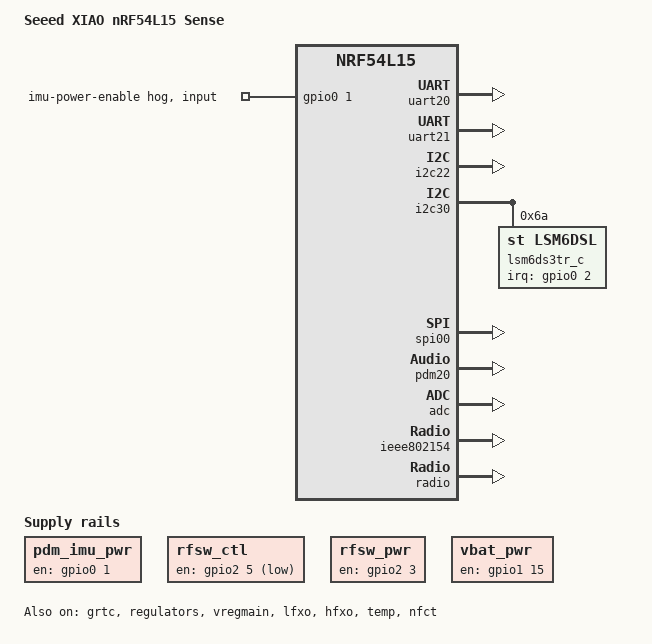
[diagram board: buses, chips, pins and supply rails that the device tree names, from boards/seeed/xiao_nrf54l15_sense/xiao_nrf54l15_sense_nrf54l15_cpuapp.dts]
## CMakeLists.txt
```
# SPDX-License-Identifier: Apache-2.0
#
# BLE Spectrum Monitor firmware
# Builds a Nordic UART Service peripheral that sweeps the 2.4 GHz band and
# streams per-channel RSSI as newline-delimited JSON.

cmake_minimum_required(VERSION 3.20.0)

find_package(Zephyr REQUIRED HINTS $ENV{ZEPHYR_BASE})
project(ble_spectrum_monitor)

target_sources(app PRIVATE
  src/main.c
  src/radio_sweep.c
)

target_include_directories(app PRIVATE src)
```

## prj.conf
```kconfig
# SPDX-License-Identifier: Apache-2.0
#
# Project configuration for the BLE Spectrum Monitor firmware.
# Derived from the nRF Connect SDK peripheral_uart sample.

# --- Bluetooth core ---
CONFIG_BT=y
CONFIG_BT_PERIPHERAL=y
CONFIG_BT_DEVICE_NAME="BLE-SpectrumMon"
CONFIG_BT_DEVICE_APPEARANCE=0

# Nordic UART Service (NUS)
CONFIG_BT_NUS=y

# Larger ATT MTU so a full sweep JSON fits in as few notifications as possible.
# Data length / PHY update help the larger MTU actually take effect.
CONFIG_BT_L2CAP_TX_MTU=247
CONFIG_BT_BUF_ACL_RX_SIZE=251
CONFIG_BT_BUF_ACL_TX_SIZE=251
CONFIG_BT_CTLR_DATA_LENGTH_MAX=251
CONFIG_BT_USER_DATA_LEN_UPDATE=y
CONFIG_BT_AUTO_PHY_UPDATE=y
CONFIG_BT_GATT_CLIENT=n

# Allow the application to drive the MTU exchange.
CONFIG_BT_GATT_DYNAMIC_DB=y

# --- MPSL (needed later for Option A timeslot scanning) ---
# Enabled now so the upgrade path does not require a config change.
CONFIG_MPSL=y

# --- System / threading ---
CONFIG_HEAP_MEM_POOL_SIZE=2048
CONFIG_MAIN_STACK_SIZE=2048
CONFIG_SYSTEM_WORKQUEUE_STACK_SIZE=2048

# --- Logging over the debug UART ---
CONFIG_LOG=y
CONFIG_SERIAL=y
CONFIG_CONSOLE=y
CONFIG_UART_CONSOLE=y
CONFIG_USE_SEGGER_RTT=n

# --- C library ---
# Use the SDK default (picolibc), which supports snprintf with %lld and strtol
# as used in main.c. Do not force minimal libc here.
```

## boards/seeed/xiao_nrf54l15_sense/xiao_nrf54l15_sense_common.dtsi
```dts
/*
 * SPDX-License-Identifier: Apache-2.0
 */

#include "xiao_nrf54l15_sense-pinctrl.dtsi"
#include <zephyr/dt-bindings/sensor/lsm6dso.h>

/ {
	leds {
		compatible = "gpio-leds";

		led0: led_0 {
			gpios = <&gpio2 0 GPIO_ACTIVE_LOW>;
			label = "LED 0";
		};
	};

	buttons: buttons {
		compatible = "gpio-keys";

		usr_btn: usr-btn {
			gpios = <&gpio0 0 (GPIO_PULL_UP | GPIO_ACTIVE_LOW)>;
			label = "USR";
			zephyr,code = <INPUT_KEY_ENTER>;
		};
	};

	aliases {
		led0 = &led0;
		buttons = &buttons;
		dmic20 = &pdm20;
		sw0 = &usr_btn;
		watchdog0 = &wdt31;
	};
};

&uart20 {
	current-speed = <115200>;
	pinctrl-0 = <&uart20_default>;
	pinctrl-1 = <&uart20_sleep>;
	pinctrl-names = "default", "sleep";
};

&uart21 {
	current-speed = <115200>;
	pinctrl-0 = <&uart21_default>;
	pinctrl-1 = <&uart21_sleep>;
	pinctrl-names = "default", "sleep";
};

&i2c22 {
	pinctrl-0 = <&i2c22_default>;
	pinctrl-1 = <&i2c22_sleep>;
	pinctrl-names = "default", "sleep";
	clock-frequency = <400000>;
};

&i2c30 {
	pinctrl-0 = <&i2c30_default>;
	pinctrl-1 = <&i2c30_sleep>;
	pinctrl-names = "default", "sleep";
	clock-frequency = <400000>;
};

&spi00 {
	pinctrl-0 = <&spi00_default>;
	pinctrl-1 = <&spi00_sleep>;
	pinctrl-names = "default", "sleep";
};

&spi22 {
	pinctrl-0 = <&spi22_default>;
	pinctrl-1 = <&spi22_sleep>;
	pinctrl-names = "default", "sleep";
};

&pdm20 {
	pinctrl-0 = <&pdm20_default>;
	pinctrl-names = "default";
	clock-source = "PCLK32M";
};

&adc {
	#address-cells = <1>;
	#size-cells = <0>;

	channel@0 {
		reg = <0>;
		zephyr,gain = "ADC_GAIN_1_4";
		zephyr,reference = "ADC_REF_INTERNAL";
		zephyr,acquisition-time = <ADC_ACQ_TIME_DEFAULT>;
		zephyr,input-positive = <NRF_SAADC_AIN0>;
		zephyr,resolution = <12>;
		zephyr,oversampling = <8>;
	};

	channel@1 {
		reg = <1>;
		zephyr,gain = "ADC_GAIN_1_4";
		zephyr,reference = "ADC_REF_INTERNAL";
		zephyr,acquisition-time = <ADC_ACQ_TIME_DEFAULT>;
		zephyr,input-positive = <NRF_SAADC_AIN1>;
		zephyr,resolution = <12>;
		zephyr,oversampling = <8>;
	};

	channel@2 {
		reg = <2>;
		zephyr,gain = "ADC_GAIN_1_4";
		zephyr,reference = "ADC_REF_INTERNAL";
		zephyr,acquisition-time = <ADC_ACQ_TIME_DEFAULT>;
		zephyr,input-positive = <NRF_SAADC_AIN2>;
		zephyr,resolution = <12>;
		zephyr,oversampling = <8>;
	};

	channel@3 {
		reg = <3>;
		zephyr,gain = "ADC_GAIN_1_4";
		zephyr,reference = "ADC_REF_INTERNAL";
		zephyr,acquisition-time = <ADC_ACQ_TIME_DEFAULT>;
		zephyr,input-positive = <NRF_SAADC_AIN3>;
		zephyr,resolution = <12>;
		zephyr,oversampling = <8>;
	};

	channel@4 {
		reg = <4>;
		zephyr,gain = "ADC_GAIN_1_4";
		zephyr,reference = "ADC_REF_INTERNAL";
		zephyr,acquisition-time = <ADC_ACQ_TIME_DEFAULT>;
		zephyr,input-positive = <NRF_SAADC_AIN4>;
		zephyr,resolution = <12>;
		zephyr,oversampling = <8>;
	};

	channel@5 {
		reg = <5>;
		zephyr,gain = "ADC_GAIN_1_4";
		zephyr,reference = "ADC_REF_INTERNAL";
		zephyr,acquisition-time = <ADC_ACQ_TIME_DEFAULT>;
		zephyr,input-positive = <NRF_SAADC_AIN5>;
		zephyr,resolution = <12>;
		zephyr,oversampling = <8>;
	};

	channel@6 {
		reg = <6>;
		zephyr,gain = "ADC_GAIN_1_4";
		zephyr,reference = "ADC_REF_INTERNAL";
		zephyr,acquisition-time = <ADC_ACQ_TIME_DEFAULT>;
		zephyr,input-positive = <NRF_SAADC_AIN6>;
		zephyr,resolution = <12>;
		zephyr,oversampling = <8>;
	};

	channel@7 {
		reg = <7>;
		zephyr,gain = "ADC_GAIN_1_4";
		zephyr,reference = "ADC_REF_INTERNAL";
		zephyr,acquisition-time = <ADC_ACQ_TIME_DEFAULT>;
		zephyr,input-positive = <NRF_SAADC_AIN7>;
		zephyr,resolution = <12>;
		zephyr,oversampling = <8>;
	};
};
```

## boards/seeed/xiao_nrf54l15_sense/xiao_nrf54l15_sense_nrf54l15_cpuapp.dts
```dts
/*
 * Copyright (c) 2025 Seeed Technology Co., Ltd.
 * SPDX-License-Identifier: Apache-2.0
 */

/dts-v1/;
#include <nordic/nrf54l15_cpuapp.dtsi>
#include "seeed_xiao_connector.dtsi"
#include "xiao_nrf54l15_sense_common.dtsi"

/ {
	model = "Seeed XIAO nRF54L15 Sense";
	compatible = "seeed,xiao-nrf54l15-sense-cpuapp";

	pdm_imu_pwr: pdm-imu-pwr {
		compatible = "regulator-fixed";
		regulator-name = "pdm-imu-pwr";
		enable-gpios = <&gpio0 1 GPIO_ACTIVE_HIGH>;
		regulator-boot-on;
		startup-delay-us = <5000>;
	};

	rfsw_ctl: rfsw-ctl {
		compatible = "regulator-fixed";
		regulator-name = "rfsw-ctl";
		enable-gpios = <&gpio2 5 GPIO_ACTIVE_LOW>;
		regulator-boot-on;
	};

	rfsw_pwr: rfsw-pwr {
		compatible = "regulator-fixed";
		regulator-name = "rfsw-pwr";
		enable-gpios = <&gpio2 3 GPIO_ACTIVE_HIGH>;
		regulator-boot-on;
	};

	vbat_pwr: vbat-pwr {
		compatible = "regulator-fixed";
		regulator-name = "vbat";
		enable-gpios = <&gpio1 15 GPIO_ACTIVE_HIGH>;
		regulator-boot-on;
	};

	chosen {
		zephyr,code-partition = &slot0_partition;
		zephyr,sram = &cpuapp_sram;
		zephyr,flash = &cpuapp_rram;
		zephyr,flash-controller = &rram_controller;
		zephyr,console = &uart20;
		zephyr,shell-uart = &uart20;
		nordic,rpc-uart = &uart20;
		zephyr,ieee802154 = &ieee802154;
	};

	aliases {
		imu0 = &lsm6ds3tr_c;
	};
};

&cpuapp_sram {
	status = "okay";
};

&grtc {
	owned-channels = <0 1 2 3 4 5 6 7 8 9 10 11>;
	/* Channels 7-11 reserved for Zero Latency IRQs, 3-4 for FLPR */
	child-owned-channels = <3 4 7 8 9 10 11>;
	status = "okay";
};

&clock {
	status = "okay";
};

&uart20 {
	status = "okay";
};

&uart21 {
	status = "okay";
};

&i2c22 {
	status = "okay";
};

&i2c30 {
	status = "okay";

	lsm6ds3tr_c: lsm6ds3tr-c@6a {
		compatible = "st,lsm6dsl";
		reg = <0x6a>;
		irq-gpios = <&gpio0 2 GPIO_ACTIVE_HIGH>;
		status = "okay";
	};
};

&spi00 {
	status = "okay";
};

dmic_dev: &pdm20 {
	status = "okay";
};

&adc {
	status = "okay";
};

&gpio0 {
	status = "okay";

	imu_power_default_on: imu_power_default_on {
		gpio-hog;
		gpios = <1 GPIO_ACTIVE_HIGH>;
		line-name = "imu-power-enable";
	};
};

&gpio1 {
	status = "okay";
};

&gpio2 {
	status = "okay";
};

&gpiote20 {
	status = "okay";
};

&gpiote30 {
	status = "okay";
};

&regulators {
	status = "okay";
};

&vregmain {
	status = "okay";
	regulator-initial-mode = <NRF5X_REG_MODE_DCDC>;
};

&lfxo {
	load-capacitors = "internal";
	load-capacitance-femtofarad = <16000>;
	status = "okay";
};

&hfxo {
	load-capacitors = "internal";
	load-capacitance-femtofarad = <16000>;
	status = "okay";
};

&ieee802154 {
	status = "okay";
};

&temp {
	status = "okay";
};

&radio {
	status = "okay";
};

&nfct {
	status = "okay";
};

/* Include default memory partition configuration file */
#include <vendor/nordic/nrf54l15_cpuapp_partition.dtsi>
```

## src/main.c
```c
/*
 * SPDX-License-Identifier: Apache-2.0
 *
 * BLE Spectrum Monitor — firmware entry point.
 *
 * Advertises as a Nordic UART Service (NUS) peripheral named
 * "BLE-SpectrumMon". While connected it runs a small state machine that sweeps
 * RSSI across all 40 BLE channels and streams the result as one newline-
 * delimited JSON object per sweep over NUS TX, fragmented to the current MTU.
 *
 * Command protocol (NUS RX, ASCII, newline-terminated, case-insensitive):
 *   START            begin continuous sweeps
 *   STOP             pause sweeps, stay connected
 *   INTERVAL <ms>    set delay between sweeps (default 1000, min 100)
 *   PING             reply with "PONG"
 *   <anything else>  reply with "ERR unknown"
 *
 * Structurally derived from the nRF Connect SDK peripheral_uart sample.
 */

#include <zephyr/kernel.h>
#include <zephyr/types.h>
#include <stddef.h>
#include <string.h>
#include <stdlib.h>
#include <stdio.h>
#include <ctype.h>

#include <zephyr/logging/log.h>
#include <zephyr/sys/atomic.h>

#include <zephyr/bluetooth/bluetooth.h>
#include <zephyr/bluetooth/conn.h>
#include <zephyr/bluetooth/uuid.h>
#include <zephyr/bluetooth/gatt.h>

#include <bluetooth/services/nus.h>

#include "radio_sweep.h"

LOG_MODULE_REGISTER(spectrum_mon, LOG_LEVEL_INF);

/* ------------------------------------------------------------------ config */

#define DEVICE_NAME      CONFIG_BT_DEVICE_NAME
#define DEVICE_NAME_LEN  (sizeof(DEVICE_NAME) - 1)

#define SWEEP_INTERVAL_DEFAULT_MS 1000
#define SWEEP_INTERVAL_MIN_MS     100

/* JSON for a 40-channel sweep is ~280-320 bytes; round up for safety. */
#define JSON_BUF_SIZE 384

/* ------------------------------------------------------------------ state */

static struct bt_conn *current_conn;

/* Negotiated ATT payload (MTU - 3). Updated on the MTU exchange callback. */
static atomic_t nus_mtu_payload = ATOMIC_INIT(20);

/* Sweep control, shared between the command handler and the sweep thread. */
static atomic_t sweeping = ATOMIC_INIT(0);
static atomic_t sweep_interval_ms = ATOMIC_INIT(SWEEP_INTERVAL_DEFAULT_MS);

/* Wakes the sweep thread when START / INTERVAL change the schedule. */
static K_SEM_DEFINE(sweep_kick, 0, 1);

/* ------------------------------------------------------------ advertising */

static const struct bt_data ad[] = {
	BT_DATA_BYTES(BT_DATA_FLAGS, (BT_LE_AD_GENERAL | BT_LE_AD_NO_BREDR)),
	BT_DATA(BT_DATA_NAME_COMPLETE, DEVICE_NAME, DEVICE_NAME_LEN),
};

static const struct bt_data sd[] = {
	BT_DATA_BYTES(BT_DATA_UUID128_ALL, BT_UUID_NUS_VAL),
};

/* --------------------------------------------------------------- TX helper */

/*
 * Send a buffer over NUS TX, fragmenting to the current MTU so payloads larger
 * than one notification (e.g. a full sweep JSON) are delivered in order. The
 * web app reassembles by buffering until it sees a '\n'.
 */
static int nus_send_fragmented(const uint8_t *data, uint16_t len)
{
	if (!current_conn) {
		return -ENOTCONN;
	}

	uint16_t chunk = (uint16_t)atomic_get(&nus_mtu_payload);
	if (chunk < 1) {
		chunk = 20;
	}

	uint16_t offset = 0;
	while (offset < len) {
		uint16_t this_len = MIN(chunk, (uint16_t)(len - offset));
		int err = bt_nus_send(current_conn, &data[offset], this_len);
		if (err) {
			LOG_WARN("bt_nus_send failed (err %d) at offset %u",
				 err, offset);
			return err;
		}
		offset += this_len;
	}
	return 0;
}

static void nus_send_line(const char *line)
{
	nus_send_fragmented((const uint8_t *)line, (uint16_t)strlen(line));
}

/* ------------------------------------------------------- command handling */

/* Compare an n-byte buffer to a literal, case-insensitively. */
static bool ci_equal(const uint8_t *buf, uint16_t len, const char *lit)
{
	size_t lit_len = strlen(lit);
	if (len != lit_len) {
		return false;
	}
	for (size_t i = 0; i < lit_len; i++) {
		if (tolower((int)buf[i]) != tolower((int)lit[i])) {
			return false;
		}
	}
	return true;
}

static void handle_command(const uint8_t *cmd, uint16_t len)
{
	/* Trim trailing CR/LF and surrounding whitespace. */
	while (len > 0 && (cmd[len - 1] == '\r' || cmd[len - 1] == '\n' ||
			   cmd[len - 1] == ' ' || cmd[len - 1] == '\t')) {
		len--;
	}
	while (len > 0 && (*cmd == ' ' || *cmd == '\t')) {
		cmd++;
		len--;
	}
	if (len == 0) {
		return;
	}

	if (ci_equal(cmd, len, "START")) {
		atomic_set(&sweeping, 1);
		k_sem_give(&sweep_kick);
		LOG_INF("START");
		return;
	}

	if (ci_equal(cmd, len, "STOP")) {
		atomic_set(&sweeping, 0);
		LOG_INF("STOP");
		return;
	}

	if (ci_equal(cmd, len, "PING")) {
		nus_send_line("PONG\n");
		return;
	}

	/* INTERVAL <ms> */
	if (len >= 8 &&
	    (tolower(cmd[0]) == 'i') && (tolower(cmd[1]) == 'n') &&
	    (tolower(cmd[2]) == 't') && (tolower(cmd[3]) == 'e') &&
	    (tolower(cmd[4]) == 'r') && (tolower(cmd[5]) == 'v') &&
	    (tolower(cmd[6]) == 'a') && (tolower(cmd[7]) == 'l')) {
		const uint8_t *p = cmd + 8;
		uint16_t rem = len - 8;
		while (rem > 0 && (*p == ' ' || *p == '\t')) {
			p++;
			rem--;
		}
		/* NUL-terminate into a small stack buffer for strtol. */
		char num[12] = {0};
		uint16_t n = MIN(rem, (uint16_t)(sizeof(num) - 1));
		memcpy(num, p, n);
		long ms = strtol(num, NULL, 10);
		if (ms < SWEEP_INTERVAL_MIN_MS) {
			ms = SWEEP_INTERVAL_MIN_MS;
		}
		atomic_set(&sweep_interval_ms, (atomic_val_t)ms);
		k_sem_give(&sweep_kick);
		LOG_INF("INTERVAL %ld", ms);
		return;
	}

	nus_send_line("ERR unknown\n");
}

/* NUS RX: data received from the central. */
static void nus_received_cb(struct bt_conn *conn, const uint8_t *const data,
			    uint16_t len)
{
	ARG_UNUSED(conn);
	handle_command(data, len);
}

static struct bt_nus_cb nus_cb = {
	.received = nus_received_cb,
};

/* ----------------------------------------------------- connection plumbing */

static void mtu_exchange_cb(struct bt_conn *conn, uint8_t err,
			    struct bt_gatt_exchange_params *params)
{
	ARG_UNUSED(params);
	if (err) {
		LOG_WARN("MTU exchange failed (err %u)", err);
		return;
	}
	uint16_t mtu = bt_gatt_get_mtu(conn);
	/* Usable notification payload is MTU minus the 3-byte ATT header. */
	uint16_t payload = (mtu > 3) ? (mtu - 3) : 20;
	atomic_set(&nus_mtu_payload, payload);
	LOG_INF("MTU exchanged: %u (payload %u)", mtu, payload);
}

static struct bt_gatt_exchange_params mtu_exchange_params = {
	.func = mtu_exchange_cb,
};

static void connected(struct bt_conn *conn, uint8_t err)
{
	char addr[BT_ADDR_LE_STR_LEN];

	if (err) {
		LOG_ERR("Connection failed (err %u)", err);
		return;
	}

	bt_addr_le_to_str(bt_conn_get_dst(conn), addr, sizeof(addr));
	LOG_INF("Connected: %s", addr);

	current_conn = bt_conn_ref(conn);
	atomic_set(&nus_mtu_payload, 20); /* until the exchange completes */

	/* Ask for a bigger MTU so sweep JSON needs fewer notifications. */
	int rc = bt_gatt_exchange_mtu(conn, &mtu_exchange_params);
	if (rc) {
		LOG_WARN("MTU exchange request failed (err %d)", rc);
	}
}

static void disconnected(struct bt_conn *conn, uint8_t reason)
{
	char addr[BT_ADDR_LE_STR_LEN];

	bt_addr_le_to_str(bt_conn_get_dst(conn), addr, sizeof(addr));
	LOG_INF("Disconnected: %s (reason %u)", addr, reason);

	/* Pause sweeping; keep the configured interval for the next session. */
	atomic_set(&sweeping, 0);

	if (current_conn) {
		bt_conn_unref(current_conn);
		current_conn = NULL;
	}
	atomic_set(&nus_mtu_payload, 20);
}

BT_CONN_CB_DEFINE(conn_callbacks) = {
	.connected = connected,
	.disconnected = disconnected,
};

/* ----------------------------------------------------------- sweep thread */

#define SWEEP_THREAD_STACK 2048
#define SWEEP_THREAD_PRIO  5

static K_THREAD_STACK_DEFINE(sweep_stack, SWEEP_THREAD_STACK);
static struct k_thread sweep_thread_data;

/* Build the sweep JSON line into @p out. Returns the string length. */
static int build_sweep_json(char *out, size_t out_size,
			    int64_t uptime, const int8_t *rssi)
{
	int n = snprintf(out, out_size, "{\"t\":%lld,\"rssi\":[",
			 (long long)uptime);
	if (n < 0 || (size_t)n >= out_size) {
		return -1;
	}

	for (int i = 0; i < BLE_NUM_CHANNELS; i++) {
		int m = snprintf(out + n, out_size - n, "%s%d",
				 (i == 0) ? "" : ",", rssi[i]);
		if (m < 0 || (size_t)(n + m) >= out_size) {
			return -1;
		}
		n += m;
	}

	int m = snprintf(out + n, out_size - n, "]}\n");
	if (m < 0 || (size_t)(n + m) >= out_size) {
		return -1;
	}
	return n + m;
}

static void sweep_thread_fn(void *p1, void *p2, void *p3)
{
	ARG_UNUSED(p1);
	ARG_UNUSED(p2);
	ARG_UNUSED(p3);

	static int8_t rssi[BLE_NUM_CHANNELS];
	static char json[JSON_BUF_SIZE];

	for (;;) {
		if (!atomic_get(&sweeping) || !current_conn) {
			/* Idle until START / a new connection kicks us. */
			k_sem_take(&sweep_kick, K_FOREVER);
			continue;
		}

		int64_t t0 = k_uptime_get();
		radio_sweep_run(rssi);

		int len = build_sweep_json(json, sizeof(json), t0, rssi);
		if (len > 0) {
			nus_send_fragmented((const uint8_t *)json, (uint16_t)len);
		} else {
			LOG_ERR("sweep JSON did not fit in buffer");
		}

		/*
		 * Wait for the configured interval, but wake early if a command
		 * changes the schedule (so e.g. STOP takes effect promptly).
		 */
		uint32_t interval = (uint32_t)atomic_get(&sweep_interval_ms);
		k_sem_take(&sweep_kick, K_MSEC(interval));
	}
}

/* ----------------------------------------------------------------- main */

int main(void)
{
	int err;

	err = bt_nus_init(&nus_cb);
	if (err) {
		LOG_ERR("Failed to init NUS (err %d)", err);
		return err;
	}

	err = bt_enable(NULL);
	if (err) {
		LOG_ERR("Bluetooth init failed (err %d)", err);
		return err;
	}
	LOG_INF("Bluetooth initialised");

	err = bt_le_adv_start(BT_LE_ADV_CONN_FAST_1, ad, ARRAY_SIZE(ad),
			      sd, ARRAY_SIZE(sd));
	if (err) {
		LOG_ERR("Advertising failed to start (err %d)", err);
		return err;
	}
	LOG_INF("Advertising as \"%s\"", DEVICE_NAME);

	k_thread_create(&sweep_thread_data, sweep_stack,
			K_THREAD_STACK_SIZEOF(sweep_stack),
			sweep_thread_fn, NULL, NULL, NULL,
			SWEEP_THREAD_PRIO, 0, K_NO_WAIT);
	k_thread_name_set(&sweep_thread_data, "sweep");

	return 0;
}
```

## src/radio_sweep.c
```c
/*
 * SPDX-License-Identifier: Apache-2.0
 *
 * Radio energy-detect (RSSI) sweep across the 40 BLE channels.
 *
 * The RSSI measurement sequence is lifted from the nRF Connect SDK
 * `radio_test` sample: enable RX on a single frequency, kick RSSISTART, wait
 * for RSSIEND, read RSSISAMPLE (a positive number = -dBm), then disable.
 */

#include "radio_sweep.h"

#include <zephyr/kernel.h>
#include <zephyr/logging/log.h>
#include <hal/nrf_radio.h>

LOG_MODULE_REGISTER(radio_sweep, LOG_LEVEL_INF);

/*
 * BLE channel index -> RF centre frequency (MHz).
 *
 * The radio numbers channels by frequency; BLE numbers them logically. The
 * advertising channels (37, 38, 39) sit at 2402, 2426 and 2480 MHz, which is
 * why the mapping is non-linear. This table makes the relationship explicit so
 * the web app can label channels by their BLE index.
 *
 * Data channels 0-10  : 2404 .. 2424 MHz
 * Data channels 11-36 : 2428 .. 2478 MHz
 * Adv   channel  37   : 2402 MHz
 * Adv   channel  38   : 2426 MHz
 * Adv   channel  39   : 2480 MHz
 */
static const uint16_t ble_freq_table[BLE_NUM_CHANNELS] = {
	/* 0..10 */
	2404, 2406, 2408, 2410, 2412, 2414, 2416, 2418, 2420, 2422, 2424,
	/* 11..36 */
	2428, 2430, 2432, 2434, 2436, 2438, 2440, 2442, 2444, 2446, 2448,
	2450, 2452, 2454, 2456, 2458, 2460, 2462, 2464, 2466, 2468, 2470,
	2472, 2474, 2476, 2478,
	/* 37, 38, 39 (advertising) */
	2402, 2426, 2480,
};

uint16_t ble_channel_to_freq_mhz(uint8_t ch_index)
{
	if (ch_index >= BLE_NUM_CHANNELS) {
		return 0;
	}
	return ble_freq_table[ch_index];
}

/* Conservative ramp-up time for RX to settle before sampling RSSI. */
#define RADIO_RX_RAMPUP_US 140
#define RADIO_RSSI_TIMEOUT_US 50

/**
 * @brief Measure RSSI on a single RF frequency.
 *
 * @param freq_mhz Centre frequency, 2400-2500 MHz.
 * @return RSSI in dBm (negative), or -128 on failure.
 */
static int8_t measure_rssi_mhz(uint16_t freq_mhz)
{
	if (freq_mhz < 2400 || freq_mhz > 2500) {
		return -128;
	}

	/* Make sure the radio is idle before we take it over. */
	nrf_radio_event_clear(NRF_RADIO, NRF_RADIO_EVENT_DISABLED);
	nrf_radio_task_trigger(NRF_RADIO, NRF_RADIO_TASK_DISABLE);
	while (!nrf_radio_event_check(NRF_RADIO, NRF_RADIO_EVENT_DISABLED)) {
		/* spin: disable is fast */
	}

	/* FREQUENCY register is offset from 2400 MHz. */
	nrf_radio_frequency_set(NRF_RADIO, freq_mhz);

	/* Enable the receiver. */
	nrf_radio_event_clear(NRF_RADIO, NRF_RADIO_EVENT_READY);
	nrf_radio_task_trigger(NRF_RADIO, NRF_RADIO_TASK_RXEN);

	/* Wait for RX to be ready (with a bounded busy-wait fallback). */
	uint32_t spins = 0;
	while (!nrf_radio_event_check(NRF_RADIO, NRF_RADIO_EVENT_READY)) {
		if (++spins > 100000) {
			break;
		}
	}
	k_busy_wait(RADIO_RX_RAMPUP_US);

	/* Trigger an RSSI measurement and wait for it to finish. */
	nrf_radio_event_clear(NRF_RADIO, NRF_RADIO_EVENT_RSSIEND);
	nrf_radio_task_trigger(NRF_RADIO, NRF_RADIO_TASK_RSSISTART);

	spins = 0;
	while (!nrf_radio_event_check(NRF_RADIO, NRF_RADIO_EVENT_RSSIEND)) {
		if (++spins > 100000) {
			break;
		}
	}

	/* RSSISAMPLE is a positive magnitude; RSSI in dBm = -RSSISAMPLE. */
	uint8_t sample = nrf_radio_rssi_sample_get(NRF_RADIO);
	int8_t rssi_dbm = -(int8_t)sample;

	/* Tear the receiver back down so the BLE stack can reclaim the radio. */
	nrf_radio_event_clear(NRF_RADIO, NRF_RADIO_EVENT_DISABLED);
	nrf_radio_task_trigger(NRF_RADIO, NRF_RADIO_TASK_DISABLE);
	spins = 0;
	while (!nrf_radio_event_check(NRF_RADIO, NRF_RADIO_EVENT_DISABLED)) {
		if (++spins > 100000) {
			break;
		}
	}

	return rssi_dbm;
}

void radio_sweep_run(int8_t rssi_out[BLE_NUM_CHANNELS])
{
	/*
	 * Option B (MVP): briefly take the radio away from the BLE stack and
	 * sweep all 40 channels. A full sweep is only a few milliseconds, so
	 * the connection survives. We mask interrupts during the sweep to keep
	 * the soft device / controller from touching the radio mid-measurement.
	 *
	 * TODO (Option A): replace the body of this function with an MPSL
	 * timeslot request. Inside each granted timeslot, run measure_rssi_mhz()
	 * for one (or a few) channels, then return the radio. This keeps the BLE
	 * connection rock-solid even at short connection intervals and removes
	 * the need to mask interrupts here. See Nordic's MPSL timeslot sample
	 * (`mpsl/timeslot`) for the request/callback plumbing.
	 */
	unsigned int key = irq_lock();

	for (uint8_t ch = 0; ch < BLE_NUM_CHANNELS; ch++) {
		rssi_out[ch] = measure_rssi_mhz(ble_freq_table[ch]);
	}

	irq_unlock(key);
}
```

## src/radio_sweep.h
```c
/*
 * SPDX-License-Identifier: Apache-2.0
 *
 * Radio energy-detect (RSSI) sweep across the 40 BLE channels.
 */

#ifndef RADIO_SWEEP_H_
#define RADIO_SWEEP_H_

#include <stdint.h>

/* Number of BLE channels (37 data + 3 advertising). */
#define BLE_NUM_CHANNELS 40

/**
 * @brief Map a BLE channel index (0-39) to its RF centre frequency in MHz.
 *
 * Data channels 0-36 and advertising channels 37/38/39 are interleaved on the
 * physical band. This returns the actual 2402-2480 MHz centre frequency.
 *
 * @param ch_index BLE channel index, 0-39.
 * @return Centre frequency in MHz, or 0 if @p ch_index is out of range.
 */
uint16_t ble_channel_to_freq_mhz(uint8_t ch_index);

/**
 * @brief Perform a full energy-detect sweep across all 40 BLE channels.
 *
 * Option B (MVP): the BLE stack is briefly idle while the RADIO peripheral is
 * driven directly. A full sweep is only a few milliseconds, well within a
 * connection interval. See radio_sweep.c for the Option A (MPSL timeslot) TODO.
 *
 * @param rssi_out Caller-provided array of at least BLE_NUM_CHANNELS entries.
 *                 Filled with measured RSSI in dBm, indexed by BLE channel
 *                 index 0-39. Channels that fail to measure are set to -128.
 */
void radio_sweep_run(int8_t rssi_out[BLE_NUM_CHANNELS]);

#endif /* RADIO_SWEEP_H_ */
```
